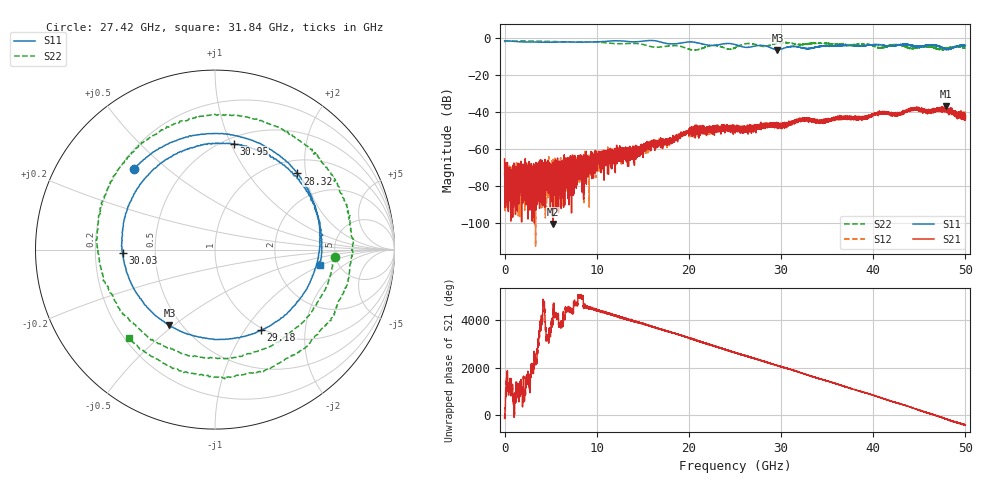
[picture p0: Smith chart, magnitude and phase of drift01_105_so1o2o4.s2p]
!Created with skrf (http://scikit-rf.org).
# Hz S RI R 50.0
!freq ReS11 ImS11 ReS21 ImS21 ReS12 ImS12 ReS22 ImS22
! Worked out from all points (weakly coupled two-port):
!   10001 points, 300 kHz to 50 GHz, reference 50 ohm
!   highest |S21| = -36.78 dB at 47.87 GHz (marker M1); lowest = -100.3 dB at 5.275 GHz (marker M2)
!   lowest |S11| = -6.2 dB at 29.61 GHz (marker M3), VSWR 2.93, Z = 21.7 - j24 ohm
!   |S11| at or under -10 dB: nowhere
!   |S22| runs from -6.5 to -1.4 dB; largest |S21 - S12| = 0.004
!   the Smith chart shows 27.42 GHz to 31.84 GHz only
!   S11 on the Smith chart (normalised r, x): 27.42 GHz: 0.26, +0.39; 28.32 GHz: 1.29, +1.79; 29.18 GHz: 0.97, -1.19; 30.03 GHz: 0.32, -0.02; 30.95 GHz: 0.56, +1.02; 31.84 GHz: 3.60, -0.96
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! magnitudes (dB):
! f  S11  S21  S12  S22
! 300 kHz  -1.3  -65.1  -67.6  -2.1
! 255.3 MHz  -1.4  -80.6  -74.4  -1.4
! 610.3 MHz  -1.4  -83.4  -86.0  -1.5
! 5.275 GHz  -2.0  -100.3  -76.6  -1.7
! 8.335 GHz  -2.0  -72.1  -70.3  -1.8
! 16.67 GHz  -1.6  -56.3  -56.3  -4.8
! 20.1 GHz  -1.9  -51.5  -49.4  -6.0
! 22.63 GHz  -3.8  -48.1  -49.9  -3.8
! 25 GHz  -3.3  -48.4  -48.8  -5.1
! 27.42 GHz  -3.9  -47.7  -48.2  -3.5
! 28.32 GHz  -4.1  -47.6  -46.6  -4.3
! 29.18 GHz  -5.7  -45.8  -46.7  -3.1
! 29.61 GHz  -6.2  -47.2  -46.8  -2.5
! 30.03 GHz  -5.8  -46.9  -46.6  -2.3
! 30.95 GHz  -4.5  -46.3  -46.0  -2.5
! 31.84 GHz  -4.6  -44.1  -44.1  -3.3
! 33.34 GHz  -5.2  -44.0  -44.6  -2.6
! 41.67 GHz  -4.3  -40.3  -40.2  -4.2
! 44.56 GHz  -4.2  -38.0  -38.0  -5.4
! 46.52 GHz  -3.8  -39.4  -39.2  -5.1
! 47.87 GHz  -5.7  -36.8  -38.3  -5.6
! 50 GHz  -3.8  -42.4  -42.5  -5.3
